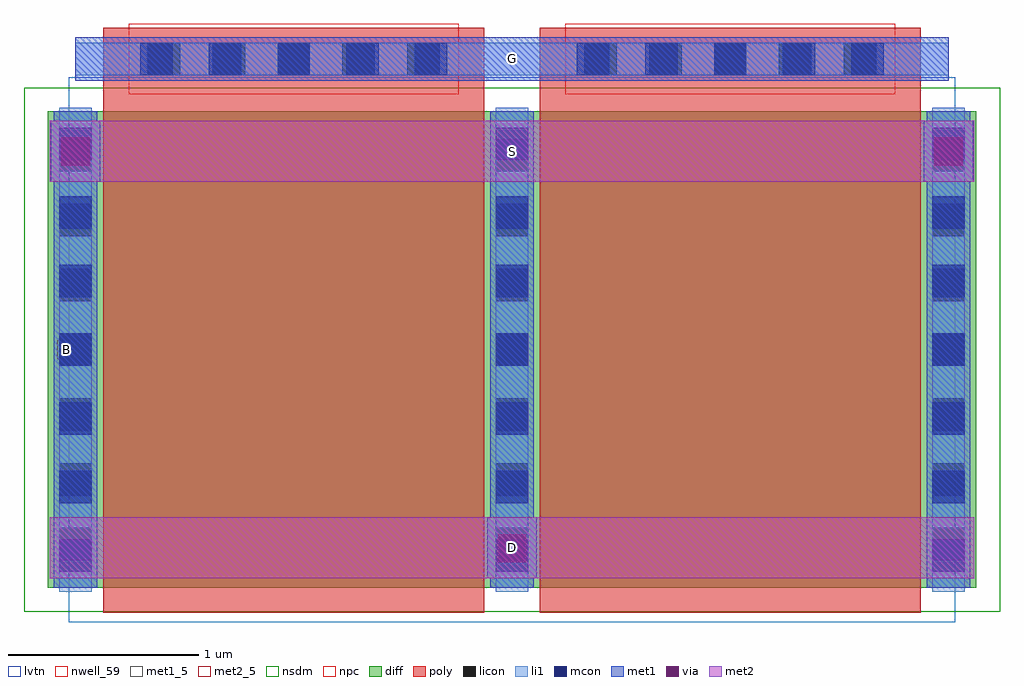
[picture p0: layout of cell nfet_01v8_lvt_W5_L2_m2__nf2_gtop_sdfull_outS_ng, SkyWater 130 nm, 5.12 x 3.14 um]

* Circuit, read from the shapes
.subckt nfet_01v8_lvt_W5_L2_m2__nf2_gtop_sdfull_outS_ng B D G S
XM1 D G S B sky130_fd_pr__nfet_01v8_lvt w=2.5 l=2 m=2
.ends

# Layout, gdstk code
import gdstk
lib = gdstk.Library(unit=1e-6, precision=1e-09)
def R(c, l, rs):  # rectangles x0, y0, x1, y1
    for r in rs: c.add(gdstk.rectangle(r[:2], r[2:], *l))
def A(c, l, x, y, w, h, nx, ny, dx, dy):  # array of equal rectangles
    R(c, l, [(x+i*dx, y+j*dy, x+i*dx+w, y+j*dy+h) for i in range(nx) for j in range(ny)])
nwell_59 = (64, 59)
diff = (65, 20)
poly = (66, 20)
licon = (66, 44)
li1 = (67, 20)
mcon = (67, 44)
met1_5 = (68, 5)
met1 = (68, 20)
via = (68, 44)
met2_5 = (69, 5)
met2 = (69, 20)
nsdm = (93, 44)
npc = (95, 20)
lvtn = (125, 44)

sky130_fd_pr__nfet_01v8_ = lib.new_cell('sky130_fd_pr__nfet_01v8_lvt_P8XQK4')
R(sky130_fd_pr__nfet_01v8_, diff, [(-2.435,-1.405,2.435,1.095)])
R(sky130_fd_pr__nfet_01v8_, poly, [(-2.145,-1.535,-0.145,1.535), (0.145,-1.535,2.145,1.535)])
A(sky130_fd_pr__nfet_01v8_, licon, -2.375, -1.26, 0.17, 0.17, 3, 7, 2.29, 0.34)
A(sky130_fd_pr__nfet_01v8_, licon, -1.91, 1.285, 0.17, 0.17, 5, 1, 0.34, 0)
A(sky130_fd_pr__nfet_01v8_, licon, 0.38, 1.285, 0.17, 0.17, 5, 1, 0.34, 0)
A(sky130_fd_pr__nfet_01v8_, li1, -2.375, -1.425, 0.17, 2.54, 3, 1, 2.29, 0)
R(sky130_fd_pr__nfet_01v8_, li1, [(-2.29,1.285,2.29,1.455)])
A(sky130_fd_pr__nfet_01v8_, mcon, -2.375, -1.32, 0.17, 0.17, 3, 7, 2.29, 0.36)
A(sky130_fd_pr__nfet_01v8_, mcon, -1.95, 1.285, 0.17, 0.17, 5, 1, 0.36, 0)
A(sky130_fd_pr__nfet_01v8_, mcon, 0.34, 1.285, 0.17, 0.17, 5, 1, 0.36, 0)
A(sky130_fd_pr__nfet_01v8_, met1, -2.405, -1.405, 0.23, 2.5, 3, 1, 2.29, 0)
R(sky130_fd_pr__nfet_01v8_, met1, [(-2.125,1.255,-0.165,1.285), (0.165,1.255,2.125,1.285), (-2.29,1.285,2.29,1.455), (-2.125,1.455,-0.165,1.485), (0.165,1.455,2.125,1.485)])
R(sky130_fd_pr__nfet_01v8_, nsdm, [(-2.56,-1.53,2.56,1.22)])
R(sky130_fd_pr__nfet_01v8_, npc, [(-2.01,1.185,-0.28,1.555), (0.28,1.185,2.01,1.555)])
R(sky130_fd_pr__nfet_01v8_, lvtn, [(-2.325,-1.585,2.325,1.275)])
sky130_fd_pr__nfet_01v8_.add(gdstk.Label('D0', (-2.29,-0.155), layer=67, texttype=5))
sky130_fd_pr__nfet_01v8_.add(gdstk.Label('G', (1.145,1.37), layer=67, texttype=5))
sky130_fd_pr__nfet_01v8_.add(gdstk.Label('G', (-1.145,1.37), layer=67, texttype=5))
sky130_fd_pr__nfet_01v8_.add(gdstk.Label('S1', (0,-0.155), layer=67, texttype=5))

nfet_01v8_lvt_w5_l2_m2__ = lib.new_cell('nfet_01v8_lvt_W5_L2_m2__nf2_gtop_sdfull_outS_ng')
R(nfet_01v8_lvt_w5_l2_m2__, nwell_59, [(0.05,1.33,0.15,1.43)])
R(nfet_01v8_lvt_w5_l2_m2__, met1_5, [(0.145,2.79,4.725,3.02)])
R(nfet_01v8_lvt_w5_l2_m2__, met1, [(2.305,0.18,2.565,0.5), (0.015,2.26,0.275,2.58), (4.595,2.26,4.855,2.58), (0.145,2.79,4.725,3.02)])
R(nfet_01v8_lvt_w5_l2_m2__, via, [(2.36,0.265,2.51,0.415), (0.07,2.345,0.22,2.495), (4.65,2.345,4.8,2.495)])
R(nfet_01v8_lvt_w5_l2_m2__, met2_5, [(0.01,0.18,4.86,0.5), (0.01,2.26,4.86,2.58)])
R(nfet_01v8_lvt_w5_l2_m2__, met2, [(0.01,0.18,4.86,0.5), (0.01,2.26,4.86,2.58)])
nfet_01v8_lvt_w5_l2_m2__.add(gdstk.Reference(sky130_fd_pr__nfet_01v8_, (2.435,1.535)))
nfet_01v8_lvt_w5_l2_m2__.add(gdstk.Label('S', (2.435,2.42), layer=69, texttype=5))
nfet_01v8_lvt_w5_l2_m2__.add(gdstk.Label('D', (2.435,0.34), layer=69, texttype=5))
nfet_01v8_lvt_w5_l2_m2__.add(gdstk.Label('G', (2.435,2.905), layer=68, texttype=5))
nfet_01v8_lvt_w5_l2_m2__.add(gdstk.Label('B', (0.1,1.38), layer=64, texttype=59))

lib.write_gds('nfet_01v8_lvt_W5_L2_m2__nf2_gtop_sdfull_outS_ng.gds')
